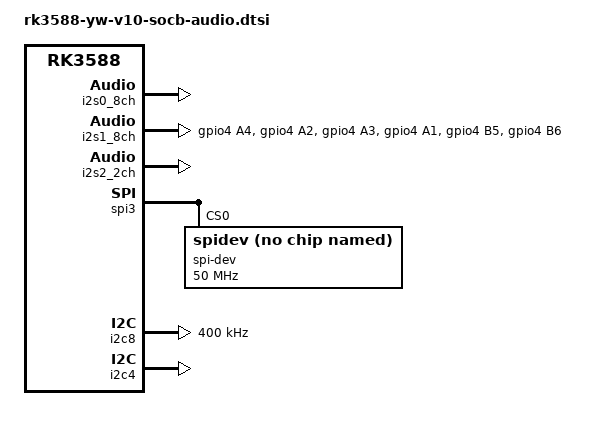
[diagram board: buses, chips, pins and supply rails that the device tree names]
// SPDX-License-Identifier: (GPL-2.0+ OR MIT)
/*
 * Copyright (c) 2024 Rockchip Electronics Co., Ltd.
 *
 */
/ {
	dummy_codec: dummy-codec {
		compatible = "rockchip,dummy-codec";
		#sound-dai-cells = <0>;
		pinctrl-names = "default";
		pinctrl-0 = <&adsp_reset_h &adsp_bootroom_l>;
		status = "okay";
	};

	sound0 {
		compatible = "simple-audio-card";
		simple-audio-card,name = "rockchip,car-rk2118-sound";
		simple-audio-card,format = "i2s";
		simple-audio-card,mclk-fs = <256>;
		simple-audio-card,bitclock-master = <&codec_master>;
		simple-audio-card,frame-master = <&codec_master>;
		status = "okay";

		simple-audio-card,cpu {
			sound-dai = <&i2s1_8ch>;
		};
		codec_master: simple-audio-card,codec {
			sound-dai = <&dummy_codec>;
		};
	};

	fm_codec: fm-codec {
        status = "okay";
        compatible = "rockchip,dummy-codec";
        #sound-dai-cells = <0>;
        pinctrl-names = "default";
    };
	fm_sound: fm-sound {
        status = "okay";
        compatible = "simple-audio-card";
        simple-audio-card,name = "rockchip,car-fm-sound";
        simple-audio-card,format = "i2s";
        simple-audio-card,mclk-fs = <256>;
        simple-audio-card,cpu {
            sound-dai = <&i2s2_2ch>;
        };
        simple-audio-card,codec {
            sound-dai = <&fm_codec>;
        };
    };

	rda_codec: rda-codec {
		compatible = "rockchip,dummy-codec";
        #sound-dai-cells = <0>;
		status = "okay";
	};

    rda_sound: rda-sound {
        status = "okay";
        compatible = "simple-audio-card";
        simple-audio-card,format = "i2s";
        simple-audio-card,mclk-fs = <256>;
        simple-audio-card,cpu {
                sound-dai = <&i2s0_8ch>;
                dai-tdm-slot-num = <8>;
                dai-tdm-slot-width = <32>;
        };
        simple-audio-card,codec {
                sound-dai = <&rda_codec>;
        };
    };
};

&i2s0_8ch {
    status = "okay";
    pinctrl-names = "default";
	rockchip,tdm-fsync-half-frame;
    pinctrl-0 = <&i2s0_lrck
             &i2s0_sclk
             &i2s0_sdo0>;
};


&i2s1_8ch {
	pinctrl-0 = <&i2s1m0_lrck_rx
			&i2s1m0_lrck_tx
			&i2s1m0_sclk_rx
			&i2s1m0_sclk_tx
			&i2s1m0_sdi0
			&i2s1m0_sdi1
			&i2s1m0_sdi2
			&i2s1m0_sdo0
			&i2s1m0_sdo1
			&i2s1m0_sdo2
			&gpio_fsxn_pins>;
	fsxn-tx-gpio = <&gpio4 RK_PB6 GPIO_ACTIVE_HIGH>;
	fsxn-rx-gpio = <&gpio4 RK_PB5 GPIO_ACTIVE_HIGH>;
	rockchip,clk-trcm = <0>;
	rockchip,tdm-multi-lanes;
	rockchip,tdm-tx-lanes = <3>;
	rockchip,tdm-rx-lanes = <3>;
	/delete-property/ rockchip,trcm-sync-tx-only;
	status = "okay";
};

&i2s2_2ch{
    pinctrl-0 = <&i2s2m1_lrck
             &i2s2m1_mclk
             &i2s2m1_sclk
             &i2s2m1_sdi>;
    status = "okay";
};

&spi3 {
	status = "okay";
	pinctrl-names = "default";
	pinctrl-0 = <&spi3m2_pins &spi3m2_cs0>;
#if 1
	spi-dev@0 {
		compatible = "rockchip,spidev";
		reg = <0x0>;
		spi-max-frequency = <50000000>;
		spi-lsb-first;
	};
#else
    spi_test@0 {
        compatible = "rockchip,spi_test_bus0_cs0";
        id = <0>;                                       //这个属性spi-rockchip-test.c用来区分不同的spi从设备的
        reg = <0>;                                      //chip select  0:cs0  1:cs1
        spi-max-frequency = <24000000>;                 //spi output clock
    };
#endif
};

&i2c8 {
	pinctrl-0 = <&i2c8m2_xfer>;
	clock-frequency = <400000>;
	status = "okay";
    //ADC
};

&i2c4 {
	pinctrl-0 = <&i2c4m2_xfer>;
	status = "okay";
    //AMP
    //MIC
};

&pinctrl {
	i2s1_rx_tx {
		i2s1m0_lrck_rx: i2s1m0-lrck-rx {
			rockchip,pins =
			/* i2s1m0_lrck_rx */
			<4 RK_PA4 3 &pcfg_pull_none>;
		};

		i2s1m0_lrck_tx: i2s1m0-lrck-tx {
			rockchip,pins =
			/* i2s1m0_lrck_tx */
			<4 RK_PA2 3 &pcfg_pull_none>;
		};

		i2s1m0_sclk_rx: i2s1m0-sclk-rx {
			rockchip,pins =
			/* i2s1m0_sclk_rx */
			<4 RK_PA3 3 &pcfg_pull_none>;
		};

		i2s1m0_sclk_tx: i2s1m0-sclk-tx {
			rockchip,pins =
			/* i2s1m0_sclk_tx */
			<4 RK_PA1 3 &pcfg_pull_none>;
		};
	};

	fsxn {
		/omit-if-no-ref/
		gpio_fsxn_pins: gpio-fsxn-pins {
			rockchip,pins =
			<4 RK_PB5 RK_FUNC_GPIO &pcfg_pull_none>,
			<4 RK_PB6 RK_FUNC_GPIO &pcfg_pull_none>;
		};
	};

	adsp {

        adsp_bootroom_l: adsp-bootroom-l {
            rockchip,pins = <3 RK_PA0 RK_FUNC_GPIO &pcfg_output_low_pull_down>;
        };

		adsp_reset_h: adsp-reset-h {
			rockchip,pins = <1 RK_PB5 RK_FUNC_GPIO &pcfg_output_high_pull_up>;
		};
	};

};
